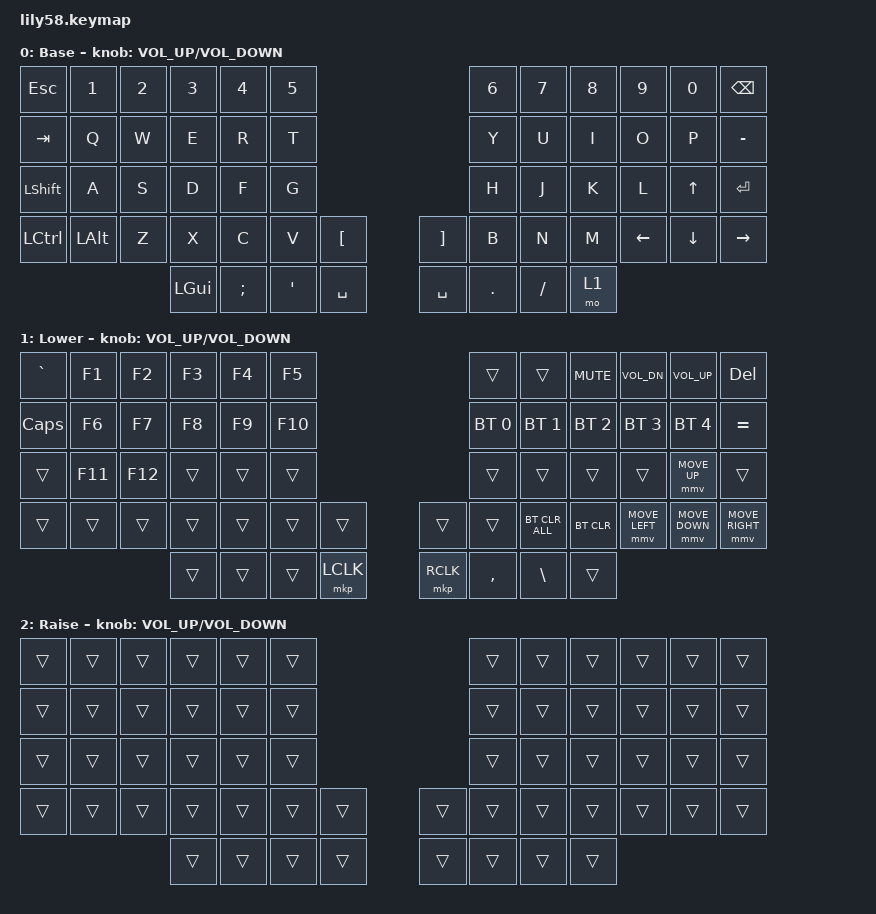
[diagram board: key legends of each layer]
/*
 * Copyright (c) 2020 The ZMK Contributors
 *
 * SPDX-License-Identifier: MIT
 */

#include <behaviors.dtsi>
#include <dt-bindings/zmk/keys.h>
#include <dt-bindings/zmk/bt.h>
#include <dt-bindings/zmk/ext_power.h>

#define ZMK_POINTING_DEFAULT_MOVE_VAL 1500  // default 600: higher = faster
#define ZMK_POINTING_DEFAULT_SCRL_VAL 15    // default 10: higher = faster scroll

#include <dt-bindings/zmk/pointing.h>

&mmv {
    time-to-max-speed-ms = <1000>;
    acceleration-exponent = <2>;
};

/ {
    keymap {
        compatible = "zmk,keymap";

        default_layer {
            // ---------------------------------------------------------------------------------------------------------
            // |  ESC  |  1  |  2  |  3  |  4  |  5  |                    |  6  |  7  |  8  |  9  |   0  | BKSPC |
            // |  TAB  |  Q  |  W  |  E  |  R  |  T  |                    |  Y  |  U  |  I  |  O  |   P  |   -   |
            // | SHIFT |  A  |  S  |  D  |  F  |  G  |                    |  H  |  J  |  K  |  L  |  UP  | ENTER |
            // | CTRL  | ALT |  Z  |  X  |  C  |  V  |  [   |       |  ]  |  B  |  N  |  M  | LEFT | DOWN | RIGHT |
            //                     | CMD |  ;  |  '  | SPC  |       | SPC |  .  |  /  | LYR |

            display-name = "Base";
            bindings = <
&kp ESCAPE      &kp N1    &kp N2  &kp N3    &kp N4    &kp N5                                          &kp N6   &kp N7    &kp N8  &kp N9    &kp N0    &kp BACKSPACE
&kp TAB         &kp Q     &kp W   &kp E     &kp R     &kp T                                           &kp Y    &kp U     &kp I   &kp O     &kp P     &kp MINUS
&kp LEFT_SHIFT  &kp A     &kp S   &kp D     &kp F     &kp G                                           &kp H    &kp J     &kp K   &kp L     &kp UP    &kp ENTER
&kp LCTRL       &kp LALT  &kp Z   &kp X     &kp C     &kp V    &kp LEFT_BRACKET    &kp RIGHT_BRACKET  &kp B    &kp N     &kp M   &kp LEFT  &kp DOWN  &kp RIGHT
                                  &kp LGUI  &kp SEMI  &kp SQT  &kp SPACE           &kp SPACE          &kp DOT  &kp FSLH  &mo 1
            >;

            sensor-bindings = <&inc_dec_kp C_VOLUME_UP C_VOLUME_DOWN>;
        };

        lower_layer {
            // -------------------------------------------------------------------------------------------------------------------------------
            // |  `   |  F1 |  F2 |  F3 |  F4 |  F5  |                            |            |            | MUTE   | V_DN  |  V_UP |  DEL  |
            // | CAPS |  F6 |  F7 |  F8 |  F9 | F10  |                            | BT_0       | BT_1       | BT_2   | BT_3  |  BT_4 |   =   |
            // |      | F11 | F12 |     |     |      |                            |            |            |        |       | MS_UP |       |
            // |      |     |     |     |     |      | ENC |       | ENC |        |            | BT_CLR_ALL | BT_CLR | MS_LT | MS_DN | MS_RT |
            //                    |     |     |      | LCK |       | RCK |   ,    |     \      |            |

            display-name = "Lower";
            bindings = <
&kp GRAVE     &kp F1   &kp F2   &kp F3  &kp F4  &kp F5                           &trans       &trans         &kp K_MUTE    &kp C_VOL_DN    &kp C_VOL_UP    &kp DELETE
&kp CAPSLOCK  &kp F6   &kp F7   &kp F8  &kp F9  &kp F10                          &bt BT_SEL 0 &bt BT_SEL 1   &bt BT_SEL 2  &bt BT_SEL 3    &bt BT_SEL 4    &kp EQUAL
&trans        &kp F11  &kp F12  &trans  &trans  &trans                           &trans       &trans         &trans        &trans          &mmv MOVE_UP    &trans
&trans        &trans   &trans   &trans  &trans  &trans   &trans       &trans     &trans       &bt BT_CLR_ALL &bt BT_CLR    &mmv MOVE_LEFT  &mmv MOVE_DOWN  &mmv MOVE_RIGHT
                                &trans  &trans  &trans   &mkp LCLK    &mkp RCLK  &kp COMMA    &kp BACKSLASH  &trans
            >;

            sensor-bindings = <&inc_dec_kp C_VOLUME_UP C_VOLUME_DOWN>;
        };

        raise_layer {
            // ---------------------------------------------------------------------------------------------------------
            // |      |     |     |      |      |      |                   |     |     |     |     |        |            |
            // |      |     |     |      |      |      |                   |     |     |     |     |        |            |
            // |      |     |     |      |      |      |                   |     |     |     |     |        |            |
            // |      |     |     |      |      |      |     |       |     |     |     |     |     |        |            |
            //                    |      |      |      |     |       |     |     |     |     |

            display-name = "Raise";
            bindings = <
&trans  &trans  &trans  &trans  &trans  &trans                    &trans  &trans  &trans  &trans  &trans  &trans
&trans  &trans  &trans  &trans  &trans  &trans                    &trans  &trans  &trans  &trans  &trans  &trans
&trans  &trans  &trans  &trans  &trans  &trans                    &trans  &trans  &trans  &trans  &trans  &trans
&trans  &trans  &trans  &trans  &trans  &trans  &trans    &trans  &trans  &trans  &trans  &trans  &trans  &trans
                        &trans  &trans  &trans  &trans    &trans  &trans  &trans  &trans
            >;

            sensor-bindings = <&inc_dec_kp C_VOLUME_UP C_VOLUME_DOWN>;
        };

        extra_1 { status = "reserved"; };

        extra_2 { status = "reserved"; };

        extra_3 { status = "reserved"; };
    };
};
